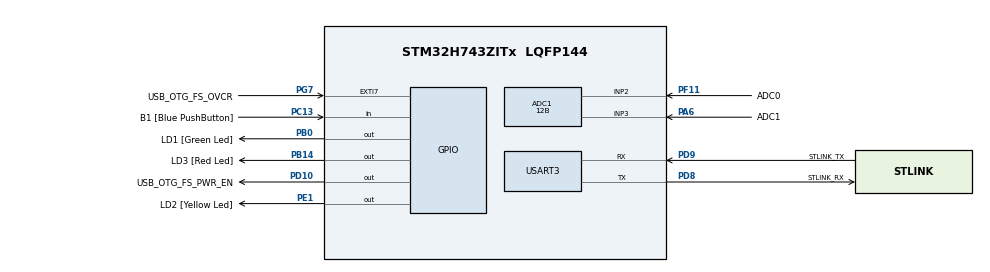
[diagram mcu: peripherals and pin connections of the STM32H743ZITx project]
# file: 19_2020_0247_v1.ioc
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ADC1.Channel-0\#ChannelRegularConversion=ADC_CHANNEL_2
ADC1.Channel-1\#ChannelRegularConversion=ADC_CHANNEL_3
ADC1.ConversionDataManagement=ADC_CONVERSIONDATA_DR
ADC1.DiscontinuousConvMode=ENABLE
ADC1.EnableInjectedConversion=DISABLE
ADC1.NbrOfConversion=2
ADC1.NbrOfConversionFlag=1
ADC1.NbrOfDiscConversion=1
ADC1.OffsetNumber-0\#ChannelRegularConversion=ADC_OFFSET_NONE
ADC1.OffsetNumber-1\#ChannelRegularConversion=ADC_OFFSET_NONE
ADC1.OffsetSignedSaturation-0\#ChannelRegularConversion=DISABLE
ADC1.OversamplingMode=DISABLE
ADC1.Rank-0\#ChannelRegularConversion=1
ADC1.Rank-1\#ChannelRegularConversion=2
ADC1.Resolution=ADC_RESOLUTION_12B
ADC1.SamplingTime-0\#ChannelRegularConversion=ADC_SAMPLETIME_1CYCLE_5
ADC1.SamplingTime-1\#ChannelRegularConversion=ADC_SAMPLETIME_1CYCLE_5
ADC1.master=1
FREERTOS.INCLUDE_xQueueGetMutexHolder=1
FREERTOS.Tasks01=defaultTask,0,128,StartDefaultTask,Default,NULL,Dynamic,NULL,NULL
FREERTOS.configUSE_NEWLIB_REENTRANT=1
FREERTOS.configUSE_TIMERS=1
Mcu.Family=STM32H7
Mcu.Name=STM32H743ZITx
Mcu.Package=LQFP144
NVIC.ADC_IRQn=true\:5\:0\:false\:false\:true\:true\:true\:true\:true
NVIC.PriorityGroup=NVIC_PRIORITYGROUP_4
NVIC.TIM1_UP_IRQn=true\:15\:0\:false\:false\:true\:false\:false\:true\:true
NVIC.TimeBase=TIM1_UP_IRQn
NVIC.TimeBaseIP=TIM1
NVIC.USART3_IRQn=true\:5\:0\:false\:false\:true\:true\:true\:true\:true
PA1.Signal=ETH_REF_CLK
PA11.Signal=USB_OTG_FS_DM
PA12.Signal=USB_OTG_FS_DP
PA2.Signal=ETH_MDIO
PA6.GPIO_Label=ADC1
PA6.Signal=ADCx_INP3
PA7.Signal=ETH_CRS_DV
PA8.Signal=USB_OTG_FS_SOF
PA9.Signal=USB_OTG_FS_VBUS
PB0.GPIO_Label=LD1 [Green Led]
PB0.Signal=GPIO_Output
PB13.Signal=ETH_TXD1
PB14.GPIO_Label=LD3 [Red Led]
PB14.Signal=GPIO_Output
PC1.Signal=ETH_MDC
PC13.GPIO_Label=B1 [Blue PushButton]
PC13.Signal=GPIO_Input
PC14-OSC32_IN\ (OSC32_IN).Mode=LSE-External-Oscillator
PC14-OSC32_IN\ (OSC32_IN).Signal=RCC_OSC32_IN
PC15-OSC32_OUT\ (OSC32_OUT).Mode=LSE-External-Oscillator
PC15-OSC32_OUT\ (OSC32_OUT).Signal=RCC_OSC32_OUT
PC4.Signal=ETH_RXD0
PC5.Signal=ETH_RXD1
PD10.GPIO_Label=USB_OTG_FS_PWR_EN
PD10.Signal=GPIO_Output
PD8.GPIO_Label=STLINK_RX
PD8.Mode=Asynchronous
PD8.Signal=USART3_TX
PD9.GPIO_Label=STLINK_TX
PD9.Mode=Asynchronous
PD9.Signal=USART3_RX
PE1.GPIO_Label=LD2 [Yellow Led]
PE1.Signal=GPIO_Output
PF11.GPIO_Label=ADC0
PF11.Mode=IN2-Single-Ended
PF11.Signal=ADC1_INP2
PG11.Signal=ETH_TX_EN
PG13.Signal=ETH_TXD0
PG7.GPIO_Label=USB_OTG_FS_OVCR
PG7.Signal=GPXTI7
PH0-OSC_IN\ (PH0).Mode=HSE-External-Oscillator
PH0-OSC_IN\ (PH0).Signal=RCC_OSC_IN
PH1-OSC_OUT\ (PH1).Mode=HSE-External-Oscillator
PH1-OSC_OUT\ (PH1).Signal=RCC_OSC_OUT
ProjectManager.HeapSize=0x200
ProjectManager.StackSize=0x400
ProjectManager.TargetToolchain=STM32CubeIDE
RCC.ADCFreq_Value=50000000
RCC.APB1Freq_Value=64000000
RCC.APB2Freq_Value=64000000
RCC.APB3Freq_Value=64000000
RCC.APB4Freq_Value=64000000
RCC.CortexFreq_Value=64000000
RCC.DIVM1=1
RCC.DIVM2=1
RCC.DIVN1=32
RCC.DIVN2=18
RCC.DIVP2=3
RCC.DIVQ1=4
RCC.HCLKFreq_Value=64000000
RCC.HSE_VALUE=8000000
RCC.PLL2FRACN=6144
RCC.PLL3FRACN=0
RCC.PLLFRACN=0
RCC.PLLSourceVirtual=RCC_PLLSOURCE_HSE
RCC.PWR_Regulator_Voltage_Scale=PWR_REGULATOR_VOLTAGE_SCALE2
RCC.ProductRev=revV
RCC.SYSCLKFreq_VALUE=64000000
RCC.USBFreq_Value=64000000
SH.ADCx_INP3.0=ADC1_INP3,IN3-Single-Ended
USART3.VirtualMode-Asynchronous=VM_ASYNC
VP_FREERTOS_VS_CMSIS_V1.Mode=CMSIS_V1
VP_SYS_VS_tim1.Mode=TIM1
board=NUCLEO-H743ZI2

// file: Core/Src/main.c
/* USER CODE BEGIN Header */
/**
  ******************************************************************************
  * @file           : main.c
  * @brief          : Main program body
  ******************************************************************************
  * @attention
  *
  * Copyright (c) 2025 STMicroelectronics.
  * All rights reserved.
  *
  * This software is licensed under terms that can be found in the LICENSE file
  * in the root directory of this software component.
  * If no LICENSE file comes with this software, it is provided AS-IS.
  *
  ******************************************************************************
  */
/* USER CODE END Header */
#include "main.h"
#include "cmsis_os.h"

/* USER CODE BEGIN Includes */

#include "string.h"
#include "task.h"
#include "queue.h"
#include "timers.h"
#include "stdio.h"

/* USER CODE END Includes */

/* USER CODE BEGIN PD */

#define ULONG_MAX                       0xFFFFFFFF
#define PERIOD_1000_ms					1000
#define BASIC_QUEUE_LEN					16

#define ADC_SOURCE_0					0x01
#define ADC_SOURCE_1					0x02
#define ADC_SOURCE_2					0x04
#define ADC_SOURCE_3					0x08
#define ADC_NEW_VALUE					0x10
#define ADC_NEW_VALUE_SOURCE_1			0x20

#define mainTASK1_TASK_PRIO		( 1 )
#define mainTASK2_TASK_PRIO		( 2 )
#define mainTASK3_TASK_PRIO		( 3 )

#define mainMAX_MSG_LEN			( 30 )

/* USER CODE END PD */

osThreadId defaultTaskHandle;
/* USER CODE BEGIN PV */

TaskHandle_t xTask1Handle;
TaskHandle_t xTask2Handle;
TaskHandle_t xTask3Handle;

TimerHandle_t xADCtimerHandle;

QueueHandle_t xADCdataQueue;
QueueHandle_t xUARTrxQueue;
QueueHandle_t xUARTtxQueue;

/* USER CODE END PV */

void SystemClock_Config(void);
void PeriphCommonClock_Config(void);
static void MX_GPIO_Init(void);
static void MX_USART3_UART_Init(void);
static void MX_ADC1_Init(void);
void StartDefaultTask(void const * argument);

/* USER CODE BEGIN PFP */

void prvTask1Function(void * argument);
void prvTask2Function(void * argument);
void prvTask3Function(void * argument);

void prvADCTimerCallback(TimerHandle_t xTimer);

/* USER CODE END PFP */

int main(void)
{

  /* MCU Configuration--------------------------------------------------------*/

  /* Reset of all peripherals, Initializes the Flash interface and the Systick. */
  HAL_Init();

  /* Configure the system clock */
  SystemClock_Config();

/* Configure the peripherals common clocks */
  PeriphCommonClock_Config();

  /* Initialize all configured peripherals */
  MX_GPIO_Init();
  MX_USART3_UART_Init();
  MX_ADC1_Init();
  /* USER CODE BEGIN 2 */

  LL_ADC_Enable(ADC1);
  LL_ADC_EnableIT_EOC(ADC1);

  LL_USART_EnableIT_RXNE_RXFNE(USART3);

  /* USER CODE END 2 */

  /* USER CODE BEGIN RTOS_TIMERS */
  /* start timers, add new ones, ... */

  xADCtimerHandle =   xTimerCreate("ADC timer",
								   pdMS_TO_TICKS(PERIOD_1000_ms),
								   pdTRUE,
								   NULL,
								   prvADCTimerCallback
								   );

  /* USER CODE END RTOS_TIMERS */

  /* USER CODE BEGIN RTOS_QUEUES */
  /* add queues, ... */

  xADCdataQueue = xQueueCreate(BASIC_QUEUE_LEN, sizeof(uint16_t));
  xUARTrxQueue  = xQueueCreate(BASIC_QUEUE_LEN, sizeof(uint8_t));
  xUARTtxQueue  = xQueueCreate(BASIC_QUEUE_LEN, sizeof(uint16_t));

  /* USER CODE END RTOS_QUEUES */

  /* Create the thread(s) */
  /* definition and creation of defaultTask */
  osThreadDef(defaultTask, StartDefaultTask, osPriorityNormal, 0, 128);
  defaultTaskHandle = osThreadCreate(osThread(defaultTask), NULL);

  /* USER CODE BEGIN RTOS_THREADS */
  /* add threads, ... */

  xTaskCreate(prvTask1Function,
		  	  "Task 1",
			  configMINIMAL_STACK_SIZE,
			  NULL,
			  mainTASK1_TASK_PRIO,
			  &xTask1Handle
			  );

  xTaskCreate(prvTask2Function,
		  	  "Task 2",
			  configMINIMAL_STACK_SIZE,
			  NULL,
			  mainTASK2_TASK_PRIO,
			  &xTask2Handle
			  );

  xTaskCreate(prvTask3Function,
		  	  "Task 3",
			  configMINIMAL_STACK_SIZE,
			  NULL,
			  mainTASK3_TASK_PRIO,
			  &xTask3Handle
			  );

  xTimerStart(xADCtimerHandle, portMAX_DELAY);

  /* USER CODE END RTOS_THREADS */

  /* Start scheduler */
  osKernelStart();

  /* We should never get here as control is now taken by the scheduler */
  /* Infinite loop */
  while (1)
  {

  }
}

void SystemClock_Config(void)
{
  LL_FLASH_SetLatency(LL_FLASH_LATENCY_1);
  while(LL_FLASH_GetLatency()!= LL_FLASH_LATENCY_1)
  {
  }
  LL_PWR_ConfigSupply(LL_PWR_LDO_SUPPLY);
  LL_PWR_SetRegulVoltageScaling(LL_PWR_REGU_VOLTAGE_SCALE2);
  LL_RCC_HSE_Enable();

   /* Wait till HSE is ready */
  while(LL_RCC_HSE_IsReady() != 1)
  {

  }
  LL_RCC_HSI_Enable();

   /* Wait till HSI is ready */
  while(LL_RCC_HSI_IsReady() != 1)
  {

  }
  LL_RCC_HSI_SetCalibTrimming(64);
  LL_RCC_HSI_SetDivider(LL_RCC_HSI_DIV1);
  LL_RCC_PLL_SetSource(LL_RCC_PLLSOURCE_HSE);
  LL_RCC_SetSysClkSource(LL_RCC_SYS_CLKSOURCE_HSI);

   /* Wait till System clock is ready */
  while(LL_RCC_GetSysClkSource() != LL_RCC_SYS_CLKSOURCE_STATUS_HSI)
  {

  }
  LL_RCC_SetSysPrescaler(LL_RCC_SYSCLK_DIV_1);
  LL_RCC_SetAHBPrescaler(LL_RCC_AHB_DIV_1);
  LL_RCC_SetAPB1Prescaler(LL_RCC_APB1_DIV_1);
  LL_RCC_SetAPB2Prescaler(LL_RCC_APB2_DIV_1);
  LL_RCC_SetAPB3Prescaler(LL_RCC_APB3_DIV_1);
  LL_RCC_SetAPB4Prescaler(LL_RCC_APB4_DIV_1);
  LL_SetSystemCoreClock(64000000);

   /* Update the time base */
  if (HAL_InitTick (TICK_INT_PRIORITY) != HAL_OK)
  {
    Error_Handler();
  }
}

void PeriphCommonClock_Config(void)
{
  LL_RCC_PLL2P_Enable();
  LL_RCC_PLL2_SetVCOInputRange(LL_RCC_PLLINPUTRANGE_8_16);
  LL_RCC_PLL2_SetVCOOutputRange(LL_RCC_PLLVCORANGE_MEDIUM);
  LL_RCC_PLL2_SetM(1);
  LL_RCC_PLL2_SetN(18);
  LL_RCC_PLL2_SetP(3);
  LL_RCC_PLL2_SetQ(2);
  LL_RCC_PLL2_SetR(2);
  LL_RCC_PLL2_SetFRACN(6144);
  LL_RCC_PLL2FRACN_Enable();
  LL_RCC_PLL2_Enable();

   /* Wait till PLL is ready */
  while(LL_RCC_PLL2_IsReady() != 1)
  {
  }

}

static void MX_ADC1_Init(void)
{

  LL_ADC_InitTypeDef ADC_InitStruct = {0};
  LL_ADC_REG_InitTypeDef ADC_REG_InitStruct = {0};
  LL_ADC_CommonInitTypeDef ADC_CommonInitStruct = {0};

  LL_GPIO_InitTypeDef GPIO_InitStruct = {0};

  LL_RCC_SetADCClockSource(LL_RCC_ADC_CLKSOURCE_PLL2P);

  /* Peripheral clock enable */
  LL_AHB1_GRP1_EnableClock(LL_AHB1_GRP1_PERIPH_ADC12);

  LL_AHB4_GRP1_EnableClock(LL_AHB4_GRP1_PERIPH_GPIOA);
  LL_AHB4_GRP1_EnableClock(LL_AHB4_GRP1_PERIPH_GPIOF);
  /**ADC1 GPIO Configuration
  PA6   ------> ADC1_INP3
  PF11   ------> ADC1_INP2
  */
  GPIO_InitStruct.Pin = ADC1_Pin;
  GPIO_InitStruct.Mode = LL_GPIO_MODE_ANALOG;
  GPIO_InitStruct.Pull = LL_GPIO_PULL_NO;
  LL_GPIO_Init(ADC1_GPIO_Port, &GPIO_InitStruct);

  GPIO_InitStruct.Pin = ADC0_Pin;
  GPIO_InitStruct.Mode = LL_GPIO_MODE_ANALOG;
  GPIO_InitStruct.Pull = LL_GPIO_PULL_NO;
  LL_GPIO_Init(ADC0_GPIO_Port, &GPIO_InitStruct);

  /* ADC1 interrupt Init */
  NVIC_SetPriority(ADC_IRQn, NVIC_EncodePriority(NVIC_GetPriorityGrouping(),5, 0));
  NVIC_EnableIRQ(ADC_IRQn);

  /** Common config
  */
  LL_ADC_SetOverSamplingScope(ADC1, LL_ADC_OVS_DISABLE);
  ADC_InitStruct.Resolution = LL_ADC_RESOLUTION_12B;
  ADC_InitStruct.LowPowerMode = LL_ADC_LP_MODE_NONE;
  LL_ADC_Init(ADC1, &ADC_InitStruct);
  ADC_REG_InitStruct.TriggerSource = LL_ADC_REG_TRIG_SOFTWARE;
  ADC_REG_InitStruct.SequencerLength = LL_ADC_REG_SEQ_SCAN_ENABLE_2RANKS;
  ADC_REG_InitStruct.SequencerDiscont = LL_ADC_REG_SEQ_DISCONT_1RANK;
  ADC_REG_InitStruct.ContinuousMode = LL_ADC_REG_CONV_SINGLE;
  ADC_REG_InitStruct.Overrun = LL_ADC_REG_OVR_DATA_PRESERVED;
  LL_ADC_REG_Init(ADC1, &ADC_REG_InitStruct);
  ADC_CommonInitStruct.CommonClock = LL_ADC_CLOCK_ASYNC_DIV4;
  ADC_CommonInitStruct.Multimode = LL_ADC_MULTI_INDEPENDENT;
  LL_ADC_CommonInit(__LL_ADC_COMMON_INSTANCE(ADC1), &ADC_CommonInitStruct);

  /* Disable ADC deep power down (enabled by default after reset state) */
  LL_ADC_DisableDeepPowerDown(ADC1);
  /* Enable ADC internal voltage regulator */
  LL_ADC_EnableInternalRegulator(ADC1);
  /* Delay for ADC internal voltage regulator stabilization. */
  /* Compute number of CPU cycles to wait for, from delay in us. */
  /* Note: Variable divided by 2 to compensate partially */
  /* CPU processing cycles (depends on compilation optimization). */
  /* Note: If system core clock frequency is below 200kHz, wait time */
  /* is only a few CPU processing cycles. */
  uint32_t wait_loop_index;
  wait_loop_index = ((LL_ADC_DELAY_INTERNAL_REGUL_STAB_US * (SystemCoreClock / (100000 * 2))) / 10);
  while(wait_loop_index != 0)
  {
    wait_loop_index--;
  }

  /** Configure Regular Channel
  */
  LL_ADC_REG_SetSequencerRanks(ADC1, LL_ADC_REG_RANK_1, LL_ADC_CHANNEL_2);
  LL_ADC_SetChannelSamplingTime(ADC1, LL_ADC_CHANNEL_2, LL_ADC_SAMPLINGTIME_1CYCLE_5);
  LL_ADC_SetChannelSingleDiff(ADC1, LL_ADC_CHANNEL_2, LL_ADC_SINGLE_ENDED);

  /** Configure Regular Channel
  */
  LL_ADC_REG_SetSequencerRanks(ADC1, LL_ADC_REG_RANK_2, LL_ADC_CHANNEL_3);
  LL_ADC_SetChannelSamplingTime(ADC1, LL_ADC_CHANNEL_3, LL_ADC_SAMPLINGTIME_1CYCLE_5);
  LL_ADC_SetChannelSingleDiff(ADC1, LL_ADC_CHANNEL_3, LL_ADC_SINGLE_ENDED);

}

static void MX_USART3_UART_Init(void)
{

  LL_USART_InitTypeDef USART_InitStruct = {0};

  LL_GPIO_InitTypeDef GPIO_InitStruct = {0};

  LL_RCC_SetUSARTClockSource(LL_RCC_USART234578_CLKSOURCE_PCLK1);

  /* Peripheral clock enable */
  LL_APB1_GRP1_EnableClock(LL_APB1_GRP1_PERIPH_USART3);

  LL_AHB4_GRP1_EnableClock(LL_AHB4_GRP1_PERIPH_GPIOD);
  /**USART3 GPIO Configuration
  PD8   ------> USART3_TX
  PD9   ------> USART3_RX
  */
  GPIO_InitStruct.Pin = STLINK_RX_Pin|STLINK_TX_Pin;
  GPIO_InitStruct.Mode = LL_GPIO_MODE_ALTERNATE;
  GPIO_InitStruct.Speed = LL_GPIO_SPEED_FREQ_LOW;
  GPIO_InitStruct.OutputType = LL_GPIO_OUTPUT_PUSHPULL;
  GPIO_InitStruct.Pull = LL_GPIO_PULL_NO;
  GPIO_InitStruct.Alternate = LL_GPIO_AF_7;
  LL_GPIO_Init(GPIOD, &GPIO_InitStruct);

  /* USART3 interrupt Init */
  NVIC_SetPriority(USART3_IRQn, NVIC_EncodePriority(NVIC_GetPriorityGrouping(),5, 0));
  NVIC_EnableIRQ(USART3_IRQn);

  USART_InitStruct.PrescalerValue = LL_USART_PRESCALER_DIV1;
  USART_InitStruct.BaudRate = 115200;
  USART_InitStruct.DataWidth = LL_USART_DATAWIDTH_8B;
  USART_InitStruct.StopBits = LL_USART_STOPBITS_1;
  USART_InitStruct.Parity = LL_USART_PARITY_NONE;
  USART_InitStruct.TransferDirection = LL_USART_DIRECTION_TX_RX;
  USART_InitStruct.HardwareFlowControl = LL_USART_HWCONTROL_NONE;
  USART_InitStruct.OverSampling = LL_USART_OVERSAMPLING_16;
  LL_USART_Init(USART3, &USART_InitStruct);
  LL_USART_SetTXFIFOThreshold(USART3, LL_USART_FIFOTHRESHOLD_1_8);
  LL_USART_SetRXFIFOThreshold(USART3, LL_USART_FIFOTHRESHOLD_1_8);
  LL_USART_DisableFIFO(USART3);
  LL_USART_ConfigAsyncMode(USART3);

  LL_USART_Enable(USART3);

  /* Polling USART3 initialisation */
  while((!(LL_USART_IsActiveFlag_TEACK(USART3))) || (!(LL_USART_IsActiveFlag_REACK(USART3))))
  {
  }

}

static void MX_GPIO_Init(void)
{
  LL_EXTI_InitTypeDef EXTI_InitStruct = {0};
  LL_GPIO_InitTypeDef GPIO_InitStruct = {0};

  /* GPIO Ports Clock Enable */
  LL_AHB4_GRP1_EnableClock(LL_AHB4_GRP1_PERIPH_GPIOC);
  LL_AHB4_GRP1_EnableClock(LL_AHB4_GRP1_PERIPH_GPIOH);
  LL_AHB4_GRP1_EnableClock(LL_AHB4_GRP1_PERIPH_GPIOA);
  LL_AHB4_GRP1_EnableClock(LL_AHB4_GRP1_PERIPH_GPIOB);
  LL_AHB4_GRP1_EnableClock(LL_AHB4_GRP1_PERIPH_GPIOF);
  LL_AHB4_GRP1_EnableClock(LL_AHB4_GRP1_PERIPH_GPIOD);
  LL_AHB4_GRP1_EnableClock(LL_AHB4_GRP1_PERIPH_GPIOG);
  LL_AHB4_GRP1_EnableClock(LL_AHB4_GRP1_PERIPH_GPIOE);

  /**/
  LL_GPIO_ResetOutputPin(GPIOB, LD1_Pin|LD3_Pin);

  /**/
  LL_GPIO_ResetOutputPin(USB_OTG_FS_PWR_EN_GPIO_Port, USB_OTG_FS_PWR_EN_Pin);

  /**/
  LL_GPIO_ResetOutputPin(LD2_GPIO_Port, LD2_Pin);

  /**/
  GPIO_InitStruct.Pin = B1_Pin;
  GPIO_InitStruct.Mode = LL_GPIO_MODE_INPUT;
  GPIO_InitStruct.Pull = LL_GPIO_PULL_NO;
  LL_GPIO_Init(B1_GPIO_Port, &GPIO_InitStruct);

  /**/
  GPIO_InitStruct.Pin = LL_GPIO_PIN_1|LL_GPIO_PIN_4|LL_GPIO_PIN_5;
  GPIO_InitStruct.Mode = LL_GPIO_MODE_ALTERNATE;
  GPIO_InitStruct.Speed = LL_GPIO_SPEED_FREQ_LOW;
  GPIO_InitStruct.OutputType = LL_GPIO_OUTPUT_PUSHPULL;
  GPIO_InitStruct.Pull = LL_GPIO_PULL_NO;
  GPIO_InitStruct.Alternate = LL_GPIO_AF_11;
  LL_GPIO_Init(GPIOC, &GPIO_InitStruct);

  /**/
  GPIO_InitStruct.Pin = LL_GPIO_PIN_1|LL_GPIO_PIN_2|LL_GPIO_PIN_7;
  GPIO_InitStruct.Mode = LL_GPIO_MODE_ALTERNATE;
  GPIO_InitStruct.Speed = LL_GPIO_SPEED_FREQ_LOW;
  GPIO_InitStruct.OutputType = LL_GPIO_OUTPUT_PUSHPULL;
  GPIO_InitStruct.Pull = LL_GPIO_PULL_NO;
  GPIO_InitStruct.Alternate = LL_GPIO_AF_11;
  LL_GPIO_Init(GPIOA, &GPIO_InitStruct);

  /**/
  GPIO_InitStruct.Pin = LD1_Pin|LD3_Pin;
  GPIO_InitStruct.Mode = LL_GPIO_MODE_OUTPUT;
  GPIO_InitStruct.Speed = LL_GPIO_SPEED_FREQ_LOW;
  GPIO_InitStruct.OutputType = LL_GPIO_OUTPUT_PUSHPULL;
  GPIO_InitStruct.Pull = LL_GPIO_PULL_NO;
  LL_GPIO_Init(GPIOB, &GPIO_InitStruct);

  /**/
  GPIO_InitStruct.Pin = LL_GPIO_PIN_13;
  GPIO_InitStruct.Mode = LL_GPIO_MODE_ALTERNATE;
  GPIO_InitStruct.Speed = LL_GPIO_SPEED_FREQ_LOW;
  GPIO_InitStruct.OutputType = LL_GPIO_OUTPUT_PUSHPULL;
  GPIO_InitStruct.Pull = LL_GPIO_PULL_NO;
  GPIO_InitStruct.Alternate = LL_GPIO_AF_11;
  LL_GPIO_Init(GPIOB, &GPIO_InitStruct);

  /**/
  GPIO_InitStruct.Pin = USB_OTG_FS_PWR_EN_Pin;
  GPIO_InitStruct.Mode = LL_GPIO_MODE_OUTPUT;
  GPIO_InitStruct.Speed = LL_GPIO_SPEED_FREQ_LOW;
  GPIO_InitStruct.OutputType = LL_GPIO_OUTPUT_PUSHPULL;
  GPIO_InitStruct.Pull = LL_GPIO_PULL_NO;
  LL_GPIO_Init(USB_OTG_FS_PWR_EN_GPIO_Port, &GPIO_InitStruct);

  /**/
  GPIO_InitStruct.Pin = LL_GPIO_PIN_8|LL_GPIO_PIN_11|LL_GPIO_PIN_12;
  GPIO_InitStruct.Mode = LL_GPIO_MODE_ALTERNATE;
  GPIO_InitStruct.Speed = LL_GPIO_SPEED_FREQ_LOW;
  GPIO_InitStruct.OutputType = LL_GPIO_OUTPUT_PUSHPULL;
  GPIO_InitStruct.Pull = LL_GPIO_PULL_NO;
  GPIO_InitStruct.Alternate = LL_GPIO_AF_10;
  LL_GPIO_Init(GPIOA, &GPIO_InitStruct);

  /**/
  GPIO_InitStruct.Pin = LL_GPIO_PIN_11|LL_GPIO_PIN_13;
  GPIO_InitStruct.Mode = LL_GPIO_MODE_ALTERNATE;
  GPIO_InitStruct.Speed = LL_GPIO_SPEED_FREQ_LOW;
  GPIO_InitStruct.OutputType = LL_GPIO_OUTPUT_PUSHPULL;
  GPIO_InitStruct.Pull = LL_GPIO_PULL_NO;
  GPIO_InitStruct.Alternate = LL_GPIO_AF_11;
  LL_GPIO_Init(GPIOG, &GPIO_InitStruct);

  /**/
  GPIO_InitStruct.Pin = LD2_Pin;
  GPIO_InitStruct.Mode = LL_GPIO_MODE_OUTPUT;
  GPIO_InitStruct.Speed = LL_GPIO_SPEED_FREQ_LOW;
  GPIO_InitStruct.OutputType = LL_GPIO_OUTPUT_PUSHPULL;
  GPIO_InitStruct.Pull = LL_GPIO_PULL_NO;
  LL_GPIO_Init(LD2_GPIO_Port, &GPIO_InitStruct);

  /**/
  LL_SYSCFG_SetEXTISource(LL_SYSCFG_EXTI_PORTG, LL_SYSCFG_EXTI_LINE7);

  /**/
  EXTI_InitStruct.Line_0_31 = LL_EXTI_LINE_7;
  EXTI_InitStruct.Line_32_63 = LL_EXTI_LINE_NONE;
  EXTI_InitStruct.Line_64_95 = LL_EXTI_LINE_NONE;
  EXTI_InitStruct.LineCommand = ENABLE;
  EXTI_InitStruct.Mode = LL_EXTI_MODE_IT;
  EXTI_InitStruct.Trigger = LL_EXTI_TRIGGER_RISING;
  LL_EXTI_Init(&EXTI_InitStruct);

  /**/
  LL_GPIO_SetPinPull(USB_OTG_FS_OVCR_GPIO_Port, USB_OTG_FS_OVCR_Pin, LL_GPIO_PULL_NO);

  /**/
  LL_GPIO_SetPinMode(USB_OTG_FS_OVCR_GPIO_Port, USB_OTG_FS_OVCR_Pin, LL_GPIO_MODE_INPUT);

}

/* USER CODE BEGIN 4 */
uint8_t jebeniADCch = 0;
uint8_t napusismisekurca[32];
uint8_t jedigovnaCNT = 0;

void prvADCconversionCallback(void)
{
	BaseType_t xHigherPriorityTaskWoken = pdFALSE;

	uint16_t adcConversionData, adcQueueMsg;

	// Read ch1 and start conversion on ch0
	adcConversionData = LL_ADC_REG_ReadConversionData12(ADC1);

	adcQueueMsg = jebeniADCch << 9;
	adcQueueMsg |= (adcConversionData >> 3);

	xQueueSendFromISR(xADCdataQueue, &adcQueueMsg, &xHigherPriorityTaskWoken);
//	xTaskNotifyFromISR(xTask1Handle, ADC_NEW_VALUE, eSetBits, &xHigherPriorityTaskWoken);

	if(!jebeniADCch)
	{
		jebeniADCch = 1;
		LL_ADC_REG_StartConversion(ADC1);
	}
	else
	{
		jebeniADCch = 0;
		xTaskNotifyFromISR(xTask1Handle, ADC_NEW_VALUE, eSetBits, &xHigherPriorityTaskWoken);
	}
	napusismisekurca[jedigovnaCNT] = adcConversionData;
	jedigovnaCNT = (jedigovnaCNT + 1) & 0x1F;

	portYIELD_FROM_ISR( xHigherPriorityTaskWoken );
}

void prvUARTrxCallback(void)
{
	BaseType_t xHigherPriorityTaskWoken = pdFALSE;

	char localChar = LL_USART_ReceiveData8(USART3);
	xQueueSendFromISR(xUARTrxQueue, &localChar, &xHigherPriorityTaskWoken);

	portYIELD_FROM_ISR( xHigherPriorityTaskWoken );
}

void prvADCTimerCallback(TimerHandle_t xADCtimerHandle)
{
	LL_ADC_REG_StartConversion(ADC1);
//	LL_ADC_INJ_StartConversion(ADC1);
}

void prvTask1Function(void * argument)
{
	// local variables
	uint32_t notifyValue;
	uint16_t adcQueueRxedMsg;
	uint16_t adcSample[2];
	uint8_t sampleToSend = 1;

	for(;;)
	{
		xTaskNotifyWait(ULONG_MAX, ULONG_MAX, &notifyValue, portMAX_DELAY);

		switch(notifyValue)
		{
			case ADC_SOURCE_0:
				sampleToSend = 0;
				break;

			case ADC_SOURCE_1:
				sampleToSend = 1;
				break;

			case ADC_SOURCE_2:
				// sampleToSend = sampleToSend;
				prvUARTtoPChandler("Ch3 not available\n");
				break;

			case ADC_SOURCE_3:
				// sampleToSend = sampleToSend;
				prvUARTtoPChandler("Ch4 not available\n");
				break;

			case ADC_NEW_VALUE:
				while(xQueueReceive(xADCdataQueue, &adcQueueRxedMsg, 5) == pdPASS)
				{
					adcSample[(adcQueueRxedMsg >> 9)] = adcQueueRxedMsg;
				}

				xQueueSend(xUARTtxQueue, &adcSample[sampleToSend], 0);
				break;
		}
	}
}

void prvTask2Function(void * argument)
{
	// local variables
	char localChar;
	uint8_t localCharVal;

	for(;;)
	{
		if(xQueueReceive(xUARTrxQueue, &localChar, portMAX_DELAY) == pdPASS)
		{
			if(localChar >= '1' && localChar <= '4')
			{
				localCharVal = localChar - '1';
//				xTaskNotify(xTask1Handle, (1<<localCharVal), eSetBits);

				switch(1<<localCharVal)
				{
					case ADC_SOURCE_0:	xTaskNotify(xTask1Handle, ADC_SOURCE_0, eSetBits);	break;
					case ADC_SOURCE_1:	xTaskNotify(xTask1Handle, ADC_SOURCE_1, eSetBits);	break;
					case ADC_SOURCE_2:	xTaskNotify(xTask1Handle, ADC_SOURCE_2, eSetBits);	break;
					case ADC_SOURCE_3:	xTaskNotify(xTask1Handle, ADC_SOURCE_3, eSetBits);	break;
				}
			}
			else
			{
				prvUARTtoPChandler("Input Error\n");
			}
		}
	}
}

void prvTask3Function(void * argument)
{
	// local variables
	int16_t sampledValue, previousValue[2], differnce[2];
	uint8_t adcCh;
	char txData[10];

	for(;;)
	{
		if(xQueueReceive(xUARTtxQueue, &sampledValue, portMAX_DELAY) == pdPASS)
		{
			adcCh = sampledValue >> 9;

			differnce[adcCh] = sampledValue - previousValue[adcCh];
			previousValue[adcCh] = sampledValue;

			sprintf(txData, "Ch%d: %d\n",adcCh+1, differnce[adcCh]>>7);
			prvUARTtoPChandler(txData);
		}
	}
}

int8_t prvUARTtoPChandler(char * txBuff)
{
	uint8_t txBuffLen = strlen(txBuff);
	if(txBuffLen <= mainMAX_MSG_LEN)
	{
		for(uint8_t i = 0; i < txBuffLen; i++)
		{
			LL_USART_TransmitData8(USART3, txBuff[i]);
			while(!LL_USART_IsActiveFlag_TXE_TXFNF(USART3));
		}
	}
	else
	{
		return -1;
	}
	return 0;
}

/* USER CODE END 4 */

void StartDefaultTask(void const * argument)
{
  for(;;)
  {
    osDelay(1);
  }
}

void HAL_TIM_PeriodElapsedCallback(TIM_HandleTypeDef *htim)
{
  if (htim->Instance == TIM1) {
    HAL_IncTick();
  }
}

void Error_Handler(void)
{
  __disable_irq();
  while (1)
  {
  }
}
